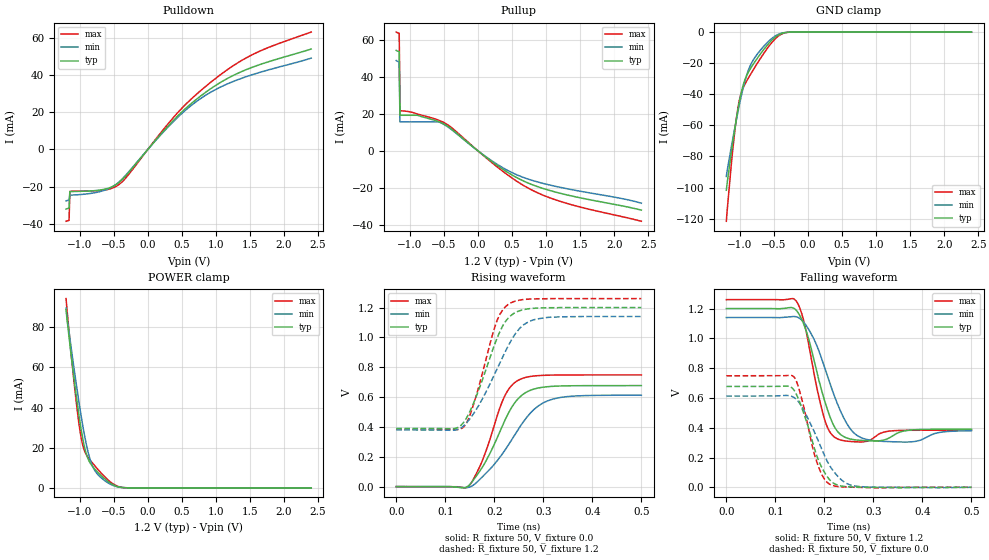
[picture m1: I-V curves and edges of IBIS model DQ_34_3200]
| [Disclaimer]  This software code and all associated documentation, comments
| or other information (collectively "Software") is provided
| "AS IS" without warranty of any kind. MICRON TECHNOLOGY, INC.
| ("MTI") EXPRESSLY DISCLAIMS ALL WARRANTIES EXPRESS OR IMPLIED,
| INCLUDING BUT NOT LIMITED TO, NONINFRINGEMENT OF THIRD PARTY
| RIGHTS, AND ANY IMPLIED WARRANTIES OF MERCHANTABILITY OR
| FITNESS FOR ANY PARTICULAR PURPOSE. MTI DOES NOT WARRANT THAT
| THE SOFTWARE WILL MEET YOUR REQUIREMENTS, OR THAT THE
| OPERATION OF THE SOFTWARE WILL BE UNINTERRUPTED OR ERROR-FREE.
| FURTHERMORE, MTI DOES NOT MAKE ANY REPRESENTATIONS REGARDING
| THE USE OR THE RESULTS OF THE USE OF THE SOFTWARE IN TERMS OF
| ITS CORRECTNESS, ACCURACY, RELIABILITY, OR OTHERWISE. THE
| ENTIRE RISK ARISING OUT OF USE OR PERFORMANCE OF THE SOFTWARE
| REMAINS WITH YOU. IN NO EVENT SHALL MTI, ITS AFFILIATED
| COMPANIES OR THEIR SUPPLIERS BE LIABLE FOR ANY DIRECT,
| INDIRECT, CONSEQUENTIAL, INCIDENTAL, OR SPECIAL DAMAGES
| (INCLUDING, WITHOUT LIMITATION, DAMAGES FOR LOSS OF PROFITS,
| BUSINESS INTERRUPTION, OR LOSS OF INFORMATION) ARISING OUT OF
| YOUR USE OF OR INABILITY TO USE THE SOFTWARE, EVEN IF MTI HAS
| BEEN ADVISED OF THE POSSIBILITY OF SUCH DAMAGES. Because some
| jurisdictions prohibit the exclusion or limitation of
| liability for consequential or incidental damages, the above
| limitation may not apply to you.
| [Copyright] Copyright 2022 Micron Technology, Inc. All rights reserved.
| From MT40A512M16LY.ibs, Micron Technology,Inc.
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| MODEL DQ_34_3200 (34 Ohm Data I/O with no ODT, 1600-3200Mbps)
[Model]   DQ_34_3200
Model_type   I/O
Vinl = 905.000mV
Vinh = 1015.000mV
Vmeas = 960.000mV
Vref = 1200.000mV
Cref = 0.0pF
Rref = 50.000Ohm
|   typ   min   max
|C_comp   0.780pF   0.730pF   0.830pF
C_comp_pullup   0.390pF   0.365pF   0.415pF
C_comp_pulldown   0.390pF   0.365pF   0.415pF
[Model Spec]
| Timing spec test load voltage corners
Vref   1.2000V   1.1400V   1.2600V
| Dynamic Overshoot Parameters from DDR4 Specification
|D_overshoot_ampl_h   0.40   NA   NA
|D_overshoot_ampl_l   0.40   NA   NA
|D_overshoot_area_h   0.0800n   NA   NA
|D_overshoot_area_l   0.0800n   NA   NA
[Voltage Range]   1.2000V   1.1400V   1.2600V
| Junction Temperature (Ambient temp is 35C typ, 95C min, 0C max)
[Temperature Range]   50.0   110.0   0.0
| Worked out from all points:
|   slope of the pulldown table from 0 to 0.18 V, typ, clamps not added: 23.2 ohm
|   slope of the pullup table from 0 to 0.18 V, typ, clamps not added: 35.1 ohm
|   GND clamp passes 1 mA (typ) near -0.39 V on its own axis
|   POWER clamp passes 1 mA (typ) near -0.48 V on its own axis
|   rising waveform, R_fixture 50, V_fixture 0.0: 20-80 % time 60.9ps typ, 80.1ps min, 47.6ps max; typ from 0 V to 0.677 V
|   rising waveform, R_fixture 50, V_fixture 1.2: 20-80 % time 54.5ps typ, 69.8ps min, 44.1ps max; typ from 0.39 V to 1.2 V
|   falling waveform, R_fixture 50, V_fixture 1.2: 20-80 % time 39.1ps typ, 50.6ps min, 31.9ps max; typ from 1.2 V to 0.39 V
|   falling waveform, R_fixture 50, V_fixture 0.0: 20-80 % time 41.3ps typ, 53.1ps min, 33.3ps max; typ from 0.677 V to 0 V
[Pulldown]
|   Voltage   I(typ)   I(min)   I(max)
-1.2V     -32.14mA   -27.78mA   -38.76mA
-1.156V   -31.69mA   -27.3mA    -38.27mA
-1.145V   -22.74mA   -24.67mA   -22.62mA
-687.3mV  -21.82mA   -22.61mA   -22.14mA
-523.6mV  -20.13mA   -20.2mA    -20.9mA
-414.5mV  -17.59mA   -17.26mA   -18.66mA
-283.6mV  -12.6mA    -12.21mA   -13.62mA
458.2mV   18.75mA    17.99mA    20.61mA
752.7mV   28.18mA    26.87mA    30.99mA
1.047V    35.72mA    33.3mA     39.78mA
1.571V    44.84mA    40.76mA    51.79mA
2.4V      54.19mA    49.29mA    63.35mA
[GND_clamp]
|   Voltage   I(typ)   I(min)   I(max)
-1.2V     -101.7mA   -92.86mA   -121.7mA
-1.135V   -79.96mA   -75.85mA   -88.92mA
-1.08V    -63.49mA   -62.76mA   -65.41mA
-1.036V   -51.56mA   -52.84mA   -50.64mA
-992.7mV  -41.38mA   -43.58mA   -41.02mA
-927.3mV  -30.76mA   -31.6mA    -33.57mA
-872.7mV  -25.55mA   -24.13mA   -29.29mA
-818.2mV  -21.61mA   -19.01mA   -25.29mA
-621.8mV  -9.659mA   -7.799mA   -11.96mA
-436.4mV  -1.919mA   -1.478mA   -2.611mA
-229.1mV  -17.22uA   -19.75uA   -20.83uA
2.4V      0A         0A         0A
[Pullup]
|   Voltage   I(typ)   I(min)   I(max)
-1.2V     54.34mA    48.83mA    64.24mA
-1.156V   53.69mA    48.13mA    63.56mA
-1.145V   19.23mA    15.64mA    21.64mA
-883.6mV  19.19mA    15.64mA    19.85mA
-556.4mV  15.45mA    15.34mA    16.25mA
-370.9mV  11.29mA    10.99mA    12.08mA
0V        835.2nA    819.2nA    926.2nA
338.2mV   -9.284mA   -8.558mA   -10.3mA
600mV     -15.07mA   -13.42mA   -17.15mA
883.6mV   -19.48mA   -16.91mA   -22.83mA
1.385V    -24.49mA   -21.06mA   -29.27mA
2.4V      -32.09mA   -28.34mA   -38.11mA
[Power Clamp]
|   Voltage   I(typ)   I(min)   I(max)
-1.2V     88.83mA    89.6mA     94.34mA
-1.135V   68.72mA    72.21mA    70.04mA
-1.058V   47.72mA    53.58mA    44.98mA
-1.004V   34.46mA    41.14mA    30.25mA
-960mV    25.46mA    31.98mA    21.99mA
-894.5mV  16.03mA    20.41mA    16.05mA
-807.3mV  10.5mA     10.53mA    12.15mA
-709.1mV  6.909mA    5.768mA    8.277mA
-545.5mV  2.223mA    1.735mA    2.842mA
-436.4mV  532.9uA    427.3uA    716.1uA
-294.5mV  16.21uA    18.63uA    20.69uA
2.4V      0A         0A         0A
[Ramp]
|   typ   min   max
dV/dt_r   406.22m/60.85p   367.61m/80.07p   449.27m/47.57p
dV/dt_f   486.13m/39.13p   456.28m/50.59p   526.01m/31.87p
R_load = 50
[Rising Waveform]
R_fixture = 50
V_fixture = 0.0
|   Time   V(typ)   V(min)   V(max)
0s        2.227uV    6.561uV    1.282uV
147ps     4.961mV    -5.273mV   393.9uV
158ps     46.23mV    11.58mV    52.7mV
176ps     131.7mV    66.21mV    177.1mV
221ps     439.8mV    240.3mV    605.1mV
235ps     528.3mV    311.8mV    676.4mV
253ps     603.3mV    404.5mV    719.5mV
286ps     658.3mV    531.1mV    743mV
322ps     672.8mV    588.6mV    747.6mV
500ps     677mV      612.7mV    748.8mV
[Rising Waveform]
R_fixture   = 50
V_fixture   = 1.2
V_fixture_min = 1.14
V_fixture_max = 1.26
|   Time   V(typ)   V(min)   V(max)
0s        389.8mV    380mV      383.3mV
117ps     388.7mV    377.8mV    381.9mV
139ps     437.2mV    411.6mV    405.1mV
160ps     577.2mV    500mV      574.8mV
206ps     997.1mV    790.9mV    1.116V
218ps     1.082V     874.8mV    1.188V
234ps     1.147V     976.9mV    1.232V
258ps     1.184V     1.08V      1.253V
288ps     1.197V     1.124V     1.259V
500ps     1.2V       1.14V      1.26V
[Falling Waveform]
R_fixture   = 50
V_fixture   = 1.2
V_fixture_min = 1.14
V_fixture_max = 1.26
|   Time   V(typ)   V(min)   V(max)
0s        1.2V       1.14V      1.26V
143ps     1.187V     1.144V     1.249V
159ps     1.086V     1.104V     1.103V
200ps     586mV      809.1mV    460.2mV
225ps     382.9mV    573.6mV    327.8mV
255ps     322.7mV    383.7mV    307.2mV
289ps     312.5mV    319.2mV    311.6mV
335ps     336.6mV    306.3mV    378.4mV
375ps     384.1mV    304.6mV    383mV
500ps     389.8mV    379.5mV    383.3mV
[Falling Waveform]
R_fixture = 50
V_fixture = 0.0
|   Time   V(typ)   V(min)   V(max)
0s        677.1mV    612.8mV    748.8mV
123ps     680.1mV    616.9mV    750.5mV
138ps     652.6mV    603.2mV    740.6mV
152ps     550.9mV    551.9mV    616mV
184ps     216.2mV    339.4mV    174.9mV
198ps     113.1mV    229.9mV    65.62mV
213ps     42.75mV    133.7mV    17.23mV
239ps     6.456mV    38.71mV    2.303mV
265ps     1.325mV    7.55mV     576.3uV
500ps     17.6uV     -118.9uV   6.362uV
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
